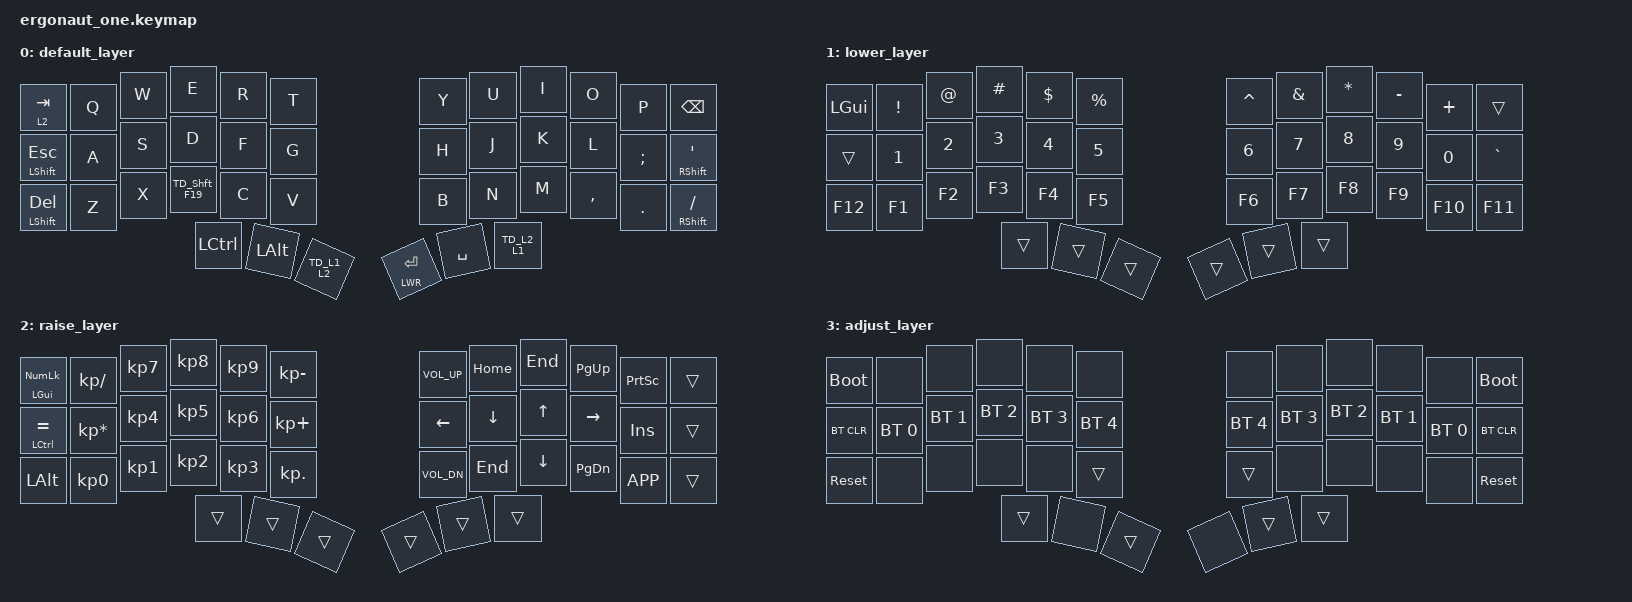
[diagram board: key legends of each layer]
#include <behaviors.dtsi>
#include <dt-bindings/zmk/bt.h>
#include <dt-bindings/zmk/keys.h>

#define DEF 0
#define LWR 1
#define RSE 2
#define ADJ 3

&lt { quick-tap-ms = <200>; };

&mt { quick-tap-ms = <200>; };

/ {
    conditional_layers {
        compatible = "zmk,conditional-layers";

        tri-layer {
            if-layers = <1 2>;
            then-layer = <3>;
        };
    };

    combos {
        compatible = "zmk,combos";

        TB_Backslash {
            bindings = <&kp BACKSLASH>;
            key-positions = <5 30>;
            layers = <0>;
        };

        YV_Forwardslash {
            bindings = <&kp SLASH>;
            key-positions = <29 6>;
            layers = <0>;
        };

        TV_Lparens {
            bindings = <&kp LEFT_PARENTHESIS>;
            key-positions = <4 5>;
            layers = <0>;
        };

        YB_RParens {
            bindings = <&kp RIGHT_PARENTHESIS>;
            key-positions = <6 7>;
            layers = <0>;
        };

        RT_LBrace {
            bindings = <&kp LEFT_BRACE>;
            key-positions = <28 29>;
            layers = <0>;
        };

        YU_RBrace {
            bindings = <&kp RIGHT_BRACE>;
            key-positions = <30 31>;
            layers = <0>;
        };

        FG_LBrack {
            bindings = <&kp LEFT_BRACKET>;
            key-positions = <16 17>;
            layers = <0>;
        };

        HJ_RBrack {
            bindings = <&kp RIGHT_BRACKET>;
            key-positions = <18 19>;
            layers = <0>;
        };

        JK_BCKSP {
            bindings = <&kp BACKSPACE>;
            key-positions = <19 20>;
            layers = <0>;
        };

        KL_DEL {
            bindings = <&kp DELETE>;
            key-positions = <20 21>;
            layers = <0>;
        };

        P_BCKSP_DEL {
            bindings = <&kp DELETE>;
            key-positions = <10 11>;
            layers = <0>;
        };

        GH_Dash {
            bindings = <&kp MINUS>;
            key-positions = <17 18>;
            layers = <0>;
        };

        VB_Under {
            bindings = <&kp UNDERSCORE>;
            key-positions = <29 30>;
            layers = <0>;
        };

        TY_Equals {
            bindings = <&kp EQUAL>;
            key-positions = <5 6>;
            layers = <0>;
        };

        TV_Lpoint {
            bindings = <&kp LESS_THAN>;
            key-positions = <5 29>;
            layers = <0>;
        };

        YB_Rpoint {
            bindings = <&kp GREATER_THAN>;
            key-positions = <6 30>;
            layers = <0>;
        };

        Num1 {
            bindings = <&kp NUMBER_1>;
            key-positions = <1 13>;
            layers = <0>;
        };

        Num2 {
            bindings = <&kp NUMBER_2>;
            key-positions = <2 14>;
            layers = <0>;
        };

        Num3 {
            bindings = <&kp NUMBER_3>;
            key-positions = <3 15>;
            layers = <0>;
        };

        Num4 {
            bindings = <&kp NUMBER_4>;
            key-positions = <4 16>;
            layers = <0>;
        };

        Num5 {
            bindings = <&kp N5>;
            key-positions = <5 17>;
            layers = <0>;
        };

        Num6 {
            bindings = <&kp NUMBER_6>;
            key-positions = <6 18>;
            layers = <0>;
        };

        Num7 {
            bindings = <&kp N7>;
            key-positions = <7 19>;
            layers = <0>;
        };

        Num8 {
            bindings = <&kp N8>;
            key-positions = <8 20>;
            layers = <0>;
        };

        Num9 {
            bindings = <&kp N9>;
            key-positions = <9 21>;
            layers = <0>;
        };

        Num0 {
            bindings = <&kp N0>;
            key-positions = <10 22>;
            layers = <0>;
        };

        Sym_Exc {
            bindings = <&kp EXCLAMATION>;
            key-positions = <13 25>;
            layers = <0>;
        };

        Sym_At {
            bindings = <&kp AT_SIGN>;
            key-positions = <26 14>;
            layers = <0>;
        };

        Sym_Hash {
            bindings = <&kp HASH>;
            key-positions = <15 27>;
            layers = <0>;
        };

        Sym_Dollar {
            bindings = <&kp DOLLAR>;
            key-positions = <16 28>;
            layers = <0>;
        };

        Sym_Perc {
            bindings = <&kp PERCENT>;
            key-positions = <17 29>;
            layers = <0>;
        };

        Sym_Carot {
            bindings = <&kp CARET>;
            key-positions = <18 30>;
            layers = <0>;
        };

        Sym_Amp {
            bindings = <&kp AMPERSAND>;
            key-positions = <19 31>;
            layers = <0>;
        };

        Sym_Ast {
            bindings = <&kp ASTERISK>;
            key-positions = <20 32>;
            layers = <0>;
        };

        Sym_LParens {
            bindings = <&kp LEFT_PARENTHESIS>;
            key-positions = <21 33>;
            layers = <0>;
        };

        Sym_RParens {
            bindings = <&kp RIGHT_PARENTHESIS>;
            key-positions = <22 34>;
            layers = <0>;
        };

        Sym_Dash {
            bindings = <&kp MINUS>;
            key-positions = <23 35>;
            layers = <0>;
        };

        Next_win {
            bindings = <&kp LA(TAB)>;
            key-positions = <3 4>;
            layers = <0>;
        };

        Next_tab {
            bindings = <&kp LC(TAB)>;
            key-positions = <3 2>;
            layers = <0>;
        };

        boot_left {
            bindings = <&bootloader>;
            key-positions = <36 37 38 0>;
            layers = <0>;
        };

        boot_right {
            bindings = <&bootloader>;
            key-positions = <40 39 41 11>;
            layers = <0>;
        };
    };

    behaviors {
        TD_Shft_F19: TD_Shft_F19 {
            compatible = "zmk,behavior-tap-dance";
            label = "TD_SHFT_F19";
            #binding-cells = <0>;
            bindings = <&kp LEFT_SHIFT>, <&kp F19>;

            tapping-term-ms = <300>;
        };

        TD_L1_L2: TD_L1_L2 {
            compatible = "zmk,behavior-tap-dance";
            label = "TD_L1_L2";
            #binding-cells = <0>;
            bindings = <&mo 1>, <&mo 2>;
        };

        TD_L2_L1: TD_L2_L1 {
            compatible = "zmk,behavior-tap-dance";
            label = "TD_L2_L1";
            #binding-cells = <0>;
            bindings = <&mo 2>, <&mo 1>;
        };
    };

    keymap {
        compatible = "zmk,keymap";

        default_layer {
            bindings = <
&lt 2 TAB              &kp Q  &kp W  &kp E         &kp R         &kp T      &kp Y          &kp U      &kp I      &kp O      &kp P       &kp BACKSPACE
&mt LEFT_SHIFT ESCAPE  &kp A  &kp S  &kp D         &kp F         &kp G      &kp H          &kp J      &kp K      &kp L      &kp SEMI    &mt RSHFT SQT
&mt LEFT_SHIFT DELETE  &kp Z  &kp X  &TD_Shft_F19  &kp C         &kp V      &kp B          &kp N      &kp M      &kp COMMA  &kp PERIOD  &mt RIGHT_SHIFT SLASH
                                     &kp LCTRL     &kp LEFT_ALT  &TD_L1_L2  &lt LWR ENTER  &kp SPACE  &TD_L2_L1
            >;
        };

        lower_layer {
            bindings = <
&kp LGUI  &kp EXCLAMATION  &kp AT_SIGN   &kp HASH      &kp DOLLAR    &kp PERCENT  &kp CARET     &kp AMPERSAND  &kp ASTERISK  &kp MINUS  &kp PLUS  &trans
&trans    &kp NUMBER_1     &kp NUMBER_2  &kp NUMBER_3  &kp NUMBER_4  &kp N5       &kp NUMBER_6  &kp N7         &kp N8        &kp N9     &kp N0    &kp GRAVE
&kp F12   &kp F1           &kp F2        &kp F3        &kp F4        &kp F5       &kp F6        &kp F7         &kp F8        &kp F9     &kp F10   &kp F11
                                         &trans        &trans        &trans       &trans        &trans         &trans
            >;
        };

        raise_layer {
            bindings = <
&mt LGUI KP_NUM  &kp KP_SLASH     &kp KP_N7  &kp KP_N8  &kp KP_N9  &kp KP_MINUS  &kp C_VOL_UP  &kp HOME  &kp END   &kp PG_UP  &kp PRINTSCREEN  &trans
&mt LCTRL EQUAL  &kp KP_MULTIPLY  &kp KP_N4  &kp KP_N5  &kp KP_N6  &kp KP_PLUS   &kp LEFT      &kp DOWN  &kp UP    &kp RIGHT  &kp INS          &trans
&kp LALT         &kp KP_N0        &kp KP_N1  &kp KP_N2  &kp KP_N3  &kp KP_DOT    &kp C_VOL_DN  &kp END   &kp DOWN  &kp PG_DN  &kp K_APP        &trans
                                             &trans     &trans     &trans        &trans        &trans    &trans
            >;
        };

        adjust_layer {
            bindings = <
&bootloader  &none         &none         &none         &none         &none         &none         &none         &none         &none         &none         &bootloader
&bt BT_CLR   &bt BT_SEL 0  &bt BT_SEL 1  &bt BT_SEL 2  &bt BT_SEL 3  &bt BT_SEL 4  &bt BT_SEL 4  &bt BT_SEL 3  &bt BT_SEL 2  &bt BT_SEL 1  &bt BT_SEL 0  &bt BT_CLR
&sys_reset   &none         &none         &none         &none         &trans        &trans        &none         &none         &none         &none         &sys_reset
                                         &trans        &none         &trans        &none         &trans        &trans
            >;
        };
    };
};
